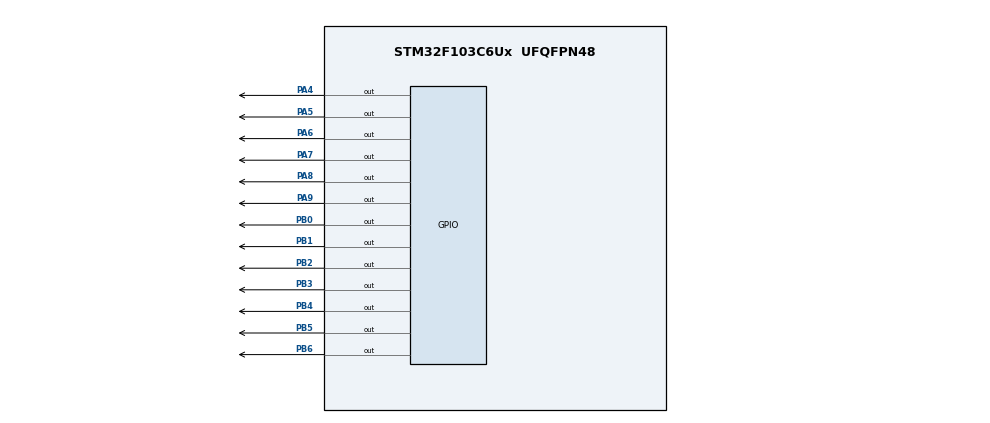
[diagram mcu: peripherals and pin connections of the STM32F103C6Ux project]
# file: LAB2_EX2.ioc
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Mcu.Family=STM32F1
Mcu.Name=STM32F103C6Ux
Mcu.Package=UFQFPN48
NVIC.PriorityGroup=NVIC_PRIORITYGROUP_4
NVIC.TIM2_IRQn=true\:0\:0\:false\:false\:true\:true\:true
PA4.Signal=GPIO_Output
PA5.Signal=GPIO_Output
PA6.Signal=GPIO_Output
PA7.Signal=GPIO_Output
PA8.Signal=GPIO_Output
PA9.Signal=GPIO_Output
PB0.Signal=GPIO_Output
PB1.Signal=GPIO_Output
PB2.Signal=GPIO_Output
PB3.Signal=GPIO_Output
PB4.Signal=GPIO_Output
PB5.Signal=GPIO_Output
PB6.Signal=GPIO_Output
ProjectManager.HeapSize=0x200
ProjectManager.StackSize=0x400
ProjectManager.TargetToolchain=STM32CubeIDE
RCC.APB1Freq_Value=8000000
RCC.APB2Freq_Value=8000000
TIM2.Period=9
TIM2.Prescaler=7999
VP_SYS_VS_ND.Mode=No_Debug
VP_TIM2_VS_ClockSourceINT.Mode=Internal
board=custom

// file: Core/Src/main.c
/* USER CODE BEGIN Header */
/**
  ******************************************************************************
  * @file           : main.c
  * @brief          : LAB 2 - EXERCISE 2
  ******************************************************************************
  */
/* USER CODE END Header */

#include "main.h"

TIM_HandleTypeDef htim2;

/* USER CODE BEGIN PV */

uint8_t led_buffer[4] = {1, 2, 3, 0};

uint8_t current_led = 0;

uint16_t counter_500ms = 0;
uint16_t counter_1s = 0;

const uint8_t seg7_code[10] =
{
    0xC0,   // 0
    0xF9,   // 1
    0xA4,   // 2
    0xB0,   // 3
    0x99,   // 4
    0x92,   // 5
    0x82,   // 6
    0xF8,   // 7
    0x80,   // 8
    0x90    // 9
};

/* USER CODE END PV */

void SystemClock_Config(void);
static void MX_GPIO_Init(void);
static void MX_TIM2_Init(void);

/* USER CODE BEGIN 0 */

void display7SEG(uint8_t num)
{
    uint8_t data;

    if (num > 9)
    {
        num = 0;
    }

    data = seg7_code[num];

    HAL_GPIO_WritePin(
        GPIOB,
        GPIO_PIN_0,
        (data & 0x01) ? GPIO_PIN_SET : GPIO_PIN_RESET
    );

    HAL_GPIO_WritePin(
        GPIOB,
        GPIO_PIN_1,
        (data & 0x02) ? GPIO_PIN_SET : GPIO_PIN_RESET
    );

    HAL_GPIO_WritePin(
        GPIOB,
        GPIO_PIN_2,
        (data & 0x04) ? GPIO_PIN_SET : GPIO_PIN_RESET
    );

    HAL_GPIO_WritePin(
        GPIOB,
        GPIO_PIN_3,
        (data & 0x08) ? GPIO_PIN_SET : GPIO_PIN_RESET
    );

    HAL_GPIO_WritePin(
        GPIOB,
        GPIO_PIN_4,
        (data & 0x10) ? GPIO_PIN_SET : GPIO_PIN_RESET
    );

    HAL_GPIO_WritePin(
        GPIOB,
        GPIO_PIN_5,
        (data & 0x20) ? GPIO_PIN_SET : GPIO_PIN_RESET
    );

    /* SEG6 -> PB6 */
    HAL_GPIO_WritePin(
        GPIOB,
        GPIO_PIN_6,
        (data & 0x40) ? GPIO_PIN_SET : GPIO_PIN_RESET
    );
}

void disableAllLED(void)
{
    HAL_GPIO_WritePin(GPIOA, GPIO_PIN_6, GPIO_PIN_SET);
    HAL_GPIO_WritePin(GPIOA, GPIO_PIN_7, GPIO_PIN_SET);
    HAL_GPIO_WritePin(GPIOA, GPIO_PIN_8, GPIO_PIN_SET);
    HAL_GPIO_WritePin(GPIOA, GPIO_PIN_9, GPIO_PIN_SET);
}

void enableLED(uint8_t index)
{
    disableAllLED();

    switch (index)
    {
        case 0:
            HAL_GPIO_WritePin(
                GPIOA,
                GPIO_PIN_6,
                GPIO_PIN_RESET
            );
            break;

        case 1:
            HAL_GPIO_WritePin(
                GPIOA,
                GPIO_PIN_7,
                GPIO_PIN_RESET
            );
            break;

        case 2:
            HAL_GPIO_WritePin(
                GPIOA,
                GPIO_PIN_8,
                GPIO_PIN_RESET
            );
            break;

        case 3:
            HAL_GPIO_WritePin(
                GPIOA,
                GPIO_PIN_9,
                GPIO_PIN_RESET
            );
            break;

        default:
            break;
    }
}

/* USER CODE END 0 */

/* ============================================================
 * MAIN
 * ============================================================ */
int main(void)
{
    /* Reset of all peripherals, Initializes the Flash interface
       and the Systick. */
    HAL_Init();

    /* Configure System Clock */
    SystemClock_Config();

    /* Initialize GPIO */
    MX_GPIO_Init();

    /* Initialize TIM2 */
    MX_TIM2_Init();

    disableAllLED();

    HAL_GPIO_WritePin(
        GPIOA,
        GPIO_PIN_4,
        GPIO_PIN_SET
    );

    display7SEG(led_buffer[0]);

    enableLED(0);

    HAL_TIM_Base_Start_IT(&htim2);

    /* Infinite loop */
    while (1)
    {

    }
}

void SystemClock_Config(void)
{
    RCC_OscInitTypeDef RCC_OscInitStruct = {0};
    RCC_ClkInitTypeDef RCC_ClkInitStruct = {0};

    RCC_OscInitStruct.OscillatorType = RCC_OSCILLATORTYPE_HSI;

    RCC_OscInitStruct.HSIState = RCC_HSI_ON;

    RCC_OscInitStruct.HSICalibrationValue =
        RCC_HSICALIBRATION_DEFAULT;

    RCC_OscInitStruct.PLL.PLLState =
        RCC_PLL_NONE;

    if (HAL_RCC_OscConfig(&RCC_OscInitStruct) != HAL_OK)
    {
        Error_Handler();
    }

    RCC_ClkInitStruct.ClockType =
        RCC_CLOCKTYPE_HCLK |
        RCC_CLOCKTYPE_SYSCLK |
        RCC_CLOCKTYPE_PCLK1 |
        RCC_CLOCKTYPE_PCLK2;

    RCC_ClkInitStruct.SYSCLKSource =
        RCC_SYSCLKSOURCE_HSI;

    RCC_ClkInitStruct.AHBCLKDivider =
        RCC_SYSCLK_DIV1;

    RCC_ClkInitStruct.APB1CLKDivider =
        RCC_HCLK_DIV1;

    RCC_ClkInitStruct.APB2CLKDivider =
        RCC_HCLK_DIV1;

    if (HAL_RCC_ClockConfig(
            &RCC_ClkInitStruct,
            FLASH_LATENCY_0) != HAL_OK)
    {
        Error_Handler();
    }
}

static void MX_TIM2_Init(void)
{
    TIM_ClockConfigTypeDef sClockSourceConfig = {0};
    TIM_MasterConfigTypeDef sMasterConfig = {0};

    htim2.Instance = TIM2;

    htim2.Init.Prescaler = 7999;

    htim2.Init.CounterMode =
        TIM_COUNTERMODE_UP;

    htim2.Init.Period = 9;

    htim2.Init.ClockDivision =
        TIM_CLOCKDIVISION_DIV1;

    htim2.Init.AutoReloadPreload =
        TIM_AUTORELOAD_PRELOAD_DISABLE;

    if (HAL_TIM_Base_Init(&htim2) != HAL_OK)
    {
        Error_Handler();
    }

    sClockSourceConfig.ClockSource =
        TIM_CLOCKSOURCE_INTERNAL;

    if (HAL_TIM_ConfigClockSource(
            &htim2,
            &sClockSourceConfig) != HAL_OK)
    {
        Error_Handler();
    }

    sMasterConfig.MasterOutputTrigger =
        TIM_TRGO_RESET;

    sMasterConfig.MasterSlaveMode =
        TIM_MASTERSLAVEMODE_DISABLE;

    if (HAL_TIMEx_MasterConfigSynchronization(
            &htim2,
            &sMasterConfig) != HAL_OK)
    {
        Error_Handler();
    }
}

static void MX_GPIO_Init(void)
{
    GPIO_InitTypeDef GPIO_InitStruct = {0};

    /* Enable GPIO clocks */
    __HAL_RCC_GPIOA_CLK_ENABLE();
    __HAL_RCC_GPIOB_CLK_ENABLE();

    /*
     * ========================================================
     * GPIOA
     * ========================================================
     */

    HAL_GPIO_WritePin(
        GPIOA,
        GPIO_PIN_4 |
        GPIO_PIN_6 |
        GPIO_PIN_7 |
        GPIO_PIN_8 |
        GPIO_PIN_9,
        GPIO_PIN_SET
    );

    GPIO_InitStruct.Pin =
        GPIO_PIN_4 |
        GPIO_PIN_6 |
        GPIO_PIN_7 |
        GPIO_PIN_8 |
        GPIO_PIN_9;

    GPIO_InitStruct.Mode =
        GPIO_MODE_OUTPUT_PP;

    GPIO_InitStruct.Pull =
        GPIO_NOPULL;

    GPIO_InitStruct.Speed =
        GPIO_SPEED_FREQ_LOW;

    HAL_GPIO_Init(
        GPIOA,
        &GPIO_InitStruct
    );

    /*
     * ========================================================
     * GPIOB
     * ========================================================
     */

    HAL_GPIO_WritePin(
        GPIOB,
        GPIO_PIN_0 |
        GPIO_PIN_1 |
        GPIO_PIN_2 |
        GPIO_PIN_3 |
        GPIO_PIN_4 |
        GPIO_PIN_5 |
        GPIO_PIN_6,
        GPIO_PIN_SET
    );

    /*
     * PB0-PB6 = SEG0-SEG6
     */
    GPIO_InitStruct.Pin =
        GPIO_PIN_0 |
        GPIO_PIN_1 |
        GPIO_PIN_2 |
        GPIO_PIN_3 |
        GPIO_PIN_4 |
        GPIO_PIN_5 |
        GPIO_PIN_6;

    GPIO_InitStruct.Mode =
        GPIO_MODE_OUTPUT_PP;

    GPIO_InitStruct.Pull =
        GPIO_NOPULL;

    GPIO_InitStruct.Speed =
        GPIO_SPEED_FREQ_LOW;

    HAL_GPIO_Init(
        GPIOB,
        &GPIO_InitStruct
    );
}

/* ============================================================
 * TIMER INTERRUPT CALLBACK
 *
 * TIM2 interrupt = 10 ms
 * ============================================================ */
void HAL_TIM_PeriodElapsedCallback(TIM_HandleTypeDef *htim)
{
    if (htim->Instance == TIM2)
    {

        counter_500ms++;

        if (counter_500ms >= 50)
        {
            counter_500ms = 0;

            current_led++;

            if (current_led >= 4)
            {
                current_led = 0;
            }

            disableAllLED();

            display7SEG(
                led_buffer[current_led]
            );

            enableLED(current_led);
        }

        counter_1s++;

        if (counter_1s >= 100)
        {
            counter_1s = 0;

            HAL_GPIO_TogglePin(
                GPIOA,
                GPIO_PIN_4
            );
        }
    }
}

/* ============================================================
 * ERROR HANDLER
 * ============================================================ */
void Error_Handler(void)
{
    __disable_irq();

    while (1)
    {
    }
}
